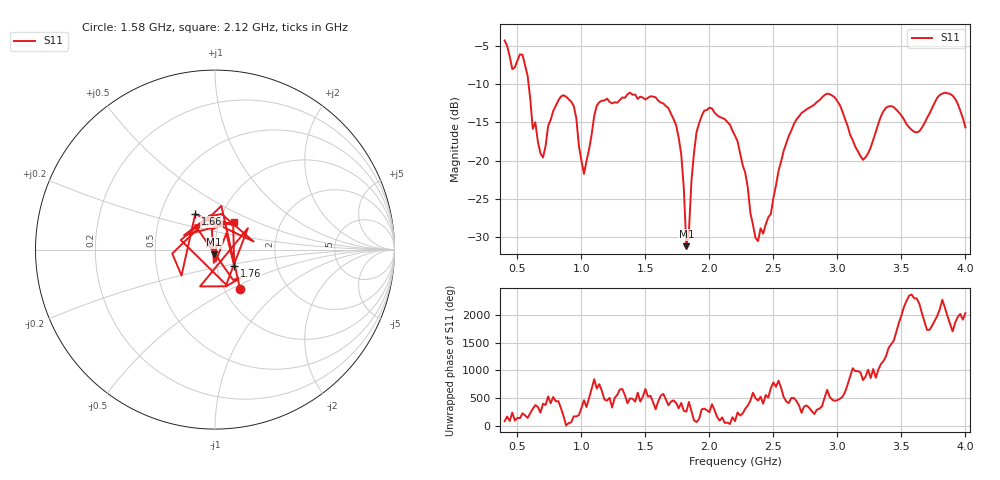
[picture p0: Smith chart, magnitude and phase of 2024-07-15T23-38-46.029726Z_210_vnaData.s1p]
!Created with skrf (http://scikit-rf.org).
# Hz S RI R 50.0
!freq ReS11 ImS11
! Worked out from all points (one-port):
!   181 points, 400 MHz to 4 GHz, reference 50 ohm
!   lowest |S11| = -31.2 dB at 1.82 GHz (marker M1), VSWR 1.06, Z = 49.4 - j2.68 ohm
!   |S11| at or under -10 dB: 587.1 MHz to end of sweep
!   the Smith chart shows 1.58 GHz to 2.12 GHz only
!   S11 on the Smith chart (normalised r, x): 1.58 GHz: 1.18, -0.55; 1.66 GHz: 0.75, +0.31; 1.76 GHz: 1.22, -0.23; 2.12 GHz: 1.17, +0.37
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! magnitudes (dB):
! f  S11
! 400 MHz  -4.3
! 460 MHz  -8.1
! 540 MHz  -6.2
! 620 MHz  -15.9
! 700 MHz  -19.6
! 860 MHz  -11.5
! 940 MHz  -12.9
! 1.02 GHz  -21.7
! 1.12 GHz  -12.8
! 1.3 GHz  -12.1
! 1.58 GHz  -11.7
! 1.66 GHz  -12.9
! 1.76 GHz  -17.0
! 1.8 GHz  -23.6
! 1.82 GHz  -31.2
! 1.88 GHz  -18.9
! 1.92 GHz  -15.1
! 2.12 GHz  -14.6
! 2.2 GHz  -16.8
! 2.38 GHz  -30.5
! 2.66 GHz  -15.2
! 2.92 GHz  -11.3
! 3.1 GHz  -16.7
! 3.2 GHz  -19.9
! 3.38 GHz  -13.1
! 3.56 GHz  -15.7
! 3.84 GHz  -11.1
! 4 GHz  -15.7
